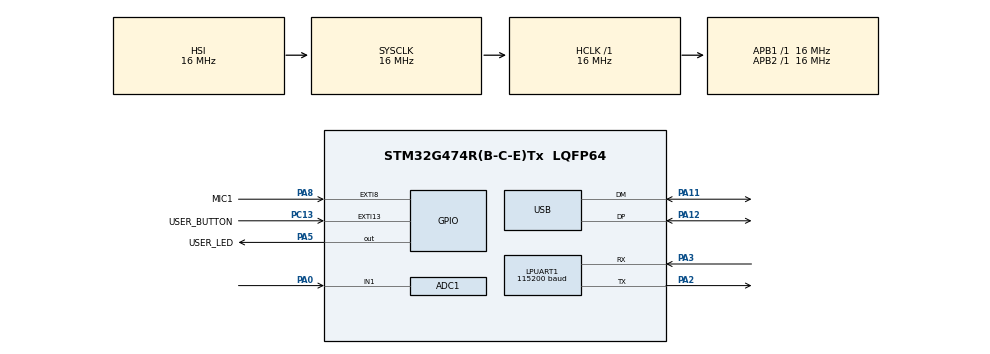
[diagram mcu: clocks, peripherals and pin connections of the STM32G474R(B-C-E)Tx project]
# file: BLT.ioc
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ADC1.Channel-0\#ChannelRegularConversion=ADC_CHANNEL_1
ADC1.ContinuousConvMode=ENABLE
ADC1.DMAContinuousRequests=ENABLE
ADC1.ExternalTrigConv=ADC_SOFTWARE_START
ADC1.NbrOfConversionFlag=1
ADC1.OffsetNumber-0\#ChannelRegularConversion=ADC_OFFSET_NONE
ADC1.Overrun=ADC_OVR_DATA_OVERWRITTEN
ADC1.Rank-0\#ChannelRegularConversion=1
ADC1.SamplingTime-0\#ChannelRegularConversion=ADC_SAMPLETIME_12CYCLES_5
ADC1.master=1
Dma.ADC1.0.Direction=DMA_PERIPH_TO_MEMORY
Dma.ADC1.0.EventEnable=DISABLE
Dma.ADC1.0.Instance=DMA1_Channel1
Dma.ADC1.0.MemDataAlignment=DMA_MDATAALIGN_HALFWORD
Dma.ADC1.0.MemInc=DMA_MINC_ENABLE
Dma.ADC1.0.Mode=DMA_CIRCULAR
Dma.ADC1.0.PeriphDataAlignment=DMA_PDATAALIGN_HALFWORD
Dma.ADC1.0.PeriphInc=DMA_PINC_DISABLE
Dma.ADC1.0.Polarity=HAL_DMAMUX_REQ_GEN_RISING
Dma.ADC1.0.Priority=DMA_PRIORITY_LOW
Dma.ADC1.0.RequestNumber=1
Dma.ADC1.0.SignalID=NONE
Dma.ADC1.0.SyncEnable=DISABLE
Dma.ADC1.0.SyncPolarity=HAL_DMAMUX_SYNC_NO_EVENT
Dma.ADC1.0.SyncRequestNumber=1
Dma.ADC1.0.SyncSignalID=NONE
Dma.Request0=ADC1
LPUART1.BaudRate=115200
Mcu.Family=STM32G4
Mcu.Name=STM32G474R(B-C-E)Tx
Mcu.Package=LQFP64
NVIC.ADC1_2_IRQn=true\:0\:0\:false\:false\:true\:true\:true\:true
NVIC.DMA1_Channel1_IRQn=true\:0\:0\:false\:false\:true\:false\:true\:true
NVIC.EXTI15_10_IRQn=true\:0\:0\:false\:false\:true\:true\:true\:true
NVIC.EXTI9_5_IRQn=true\:0\:0\:false\:false\:true\:true\:true\:true
NVIC.LPUART1_IRQn=true\:0\:0\:false\:false\:true\:true\:true\:true
NVIC.PriorityGroup=NVIC_PRIORITYGROUP_4
NVIC.USB_LP_IRQn=true\:0\:0\:false\:false\:true\:false\:true\:true
PA0.Mode=IN1-Single-Ended
PA0.Signal=ADC1_IN1
PA11.Mode=Device
PA11.Signal=USB_DM
PA12.Mode=Device
PA12.Signal=USB_DP
PA13.Mode=Serial_Wire
PA13.Signal=SYS_JTMS-SWDIO
PA14.Mode=Serial_Wire
PA14.Signal=SYS_JTCK-SWCLK
PA2.Mode=Asynchronous
PA2.Signal=LPUART1_TX
PA3.Mode=Asynchronous
PA3.Signal=LPUART1_RX
PA5.GPIO_Label=USER_LED
PA5.Signal=GPIO_Output
PA8.GPIO_Label=MIC1
PA8.GPIO_ModeDefaultEXTI=GPIO_MODE_IT_FALLING
PA8.GPIO_PuPd=GPIO_PULLUP
PA8.Signal=GPXTI8
PC13.GPIO_Label=USER_BUTTON
PC13.GPIO_ModeDefaultEXTI=GPIO_MODE_IT_RISING
PC13.GPIO_PuPd=GPIO_PULLDOWN
PC13.Signal=GPXTI13
ProjectManager.HeapSize=0x200
ProjectManager.StackSize=0x400
ProjectManager.TargetToolchain=Makefile
RCC.AHBFreq_Value=16000000
RCC.APB1Freq_Value=16000000
RCC.APB1TimFreq_Value=16000000
RCC.APB2Freq_Value=16000000
RCC.APB2TimFreq_Value=16000000
RCC.CortexFreq_Value=16000000
RCC.EXTERNAL_CLOCK_VALUE=12288000
RCC.HCLKFreq_Value=16000000
RCC.HSE_VALUE=8000000
RCC.HSI48_VALUE=48000000
RCC.HSI_VALUE=16000000
RCC.LSE_VALUE=32768
RCC.PLLN=12
RCC.PLLQ=RCC_PLLQ_DIV4
RCC.SYSCLKFreq_VALUE=16000000
RCC.USBFreq_Value=48000000
RCC.VCOOutputFreq_Value=192000000
TIM2.Prescaler=15
USB_DEVICE.CLASS_NAME_FS=HID
USB_DEVICE.VirtualMode=Hid
USB_DEVICE.VirtualModeFS=Hid_FS
VP_SYS_VS_DBSignals.Mode=DisableDeadBatterySignals
VP_TIM2_VS_ClockSourceINT.Mode=Internal
VP_USB_DEVICE_VS_USB_DEVICE_HID_FS.Mode=HID_FS
board=custom

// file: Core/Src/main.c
/* USER CODE BEGIN Header */
/**
  * @file    main.c
  * @brief   BLT (Better Latency Tester) firmware entry.
  *
  * Project: BLT – input-to-photon latency tester.
  *
  * Copyright (c) 2025 Jacen Li
  * Licensed under the MIT License (see LICENSE).
  *
  * Portions of this file are generated from STM32CubeMX templates:
  *   Copyright (c) 2025 STMicroelectronics.
  *   Licensed under the BSD-3-Clause license.
*/
/* USER CODE END Header */
#include "main.h"
#include "adc.h"
#include "dma.h"
#include "usart.h"
#include "tim.h"
#include "usb_device.h"
#include "gpio.h"

/* USER CODE BEGIN Includes */
#include "usbd_hid.h"
#include <stdio.h>
#include <stdbool.h>
#include <stdint.h>
#include <string.h>
#include <stdlib.h>
#include <inttypes.h>
#include "isr_log.h"

/* USER CODE END Includes */

/* USER CODE BEGIN PTD */
typedef enum {
  MODE1_CALIBRATION = 1,
  MODE2_TRIGGER     = 2,
  MODE3_MIC         = 3,
} blt_mode_t;

/* USER CODE END PTD */

/* USER CODE BEGIN PD */
#define FW_VERSION "BLT 0.1.1"

#define ADC_BUF_LEN 256u
#define MODE2_SPACING_US 5000000u // 5 s
#define MIC_DEBOUNCE_US 200000u  // 200 ms

#define ADC_SAMPLE_PERIOD_US 3u // 3us

/* USER CODE END PD */

/* USER CODE BEGIN PV */
extern USBD_HandleTypeDef hUsbDeviceFS;

static uint16_t          g_light_threshold = 200;
static volatile uint32_t g_tests_remaining = 0;
static uint32_t          g_trial_idx = 0;

static volatile bool     g_waiting_for_light = false;
static volatile uint32_t g_t_start_us = 0;
static uint32_t          g_last_launch_us = 0;
static volatile uint32_t g_last_mic_us = 0;

static uint8_t  rx_byte;
static char     cmd_buf[96];
static uint8_t  cmd_len = 0;

volatile uint16_t g_adc_dma_buf[ADC_BUF_LEN];

static volatile blt_mode_t g_mode = MODE1_CALIBRATION;

static volatile uint32_t g_last_idx = 0;

//unused, for debug if needed
// static volatile bool g_btn_click_req = false;

/* USER CODE END PV */

void SystemClock_Config(void);
/* USER CODE BEGIN PFP */
void send_mouse_click(void);
static inline uint16_t adc_latest_sample(void);
static void uart_start_rx_it(void);
static void send_line(const char *s);
static void handle_cmd(const char *cmd);

static inline uint32_t adc_write_idx(void);
static bool detect_cross_and_stamp(uint16_t thr, uint32_t* t1_out);
static void isr_log_dump_stats(void);

/* USER CODE END PFP */

/* USER CODE BEGIN 0 */
int _write(int file, char *ptr, int len)
{
  HAL_UART_Transmit(&hlpuart1, (uint8_t*)ptr, len, HAL_MAX_DELAY);
  return len;
}

/* USER CODE END 0 */

int main(void)
{

  /* MCU Configuration--------------------------------------------------------*/

  /* Reset of all peripherals, Initializes the Flash interface and the Systick. */
  HAL_Init();

  /* Configure the system clock */
  SystemClock_Config();

  /* Initialize all configured peripherals */
  MX_GPIO_Init();
  MX_DMA_Init();
  MX_LPUART1_UART_Init();
  MX_ADC1_Init();
  MX_TIM2_Init();
  MX_USB_Device_Init();
  /* USER CODE BEGIN 2 */

  HAL_ADCEx_Calibration_Start(&hadc1, ADC_SINGLE_ENDED);

  if (HAL_ADC_Start_DMA(&hadc1, (uint32_t*)g_adc_dma_buf, ADC_BUF_LEN) != HAL_OK)
  {
    Error_Handler();
  }

  printf("Continuous ADC-DMA running, buf=%u samples\r\n", ADC_BUF_LEN);
  printf("Initialized %s\r\n", FW_VERSION);
  HAL_TIM_Base_Start(&htim2);
  uart_start_rx_it();
  // printf("%lu\n", USBD_HID_GetPollingInterval(&hUsbDeviceFS)); // send polling rate

  /* USER CODE END 2 */

  /* Infinite loop */
  /* USER CODE BEGIN WHILE */
while (1) {
  uint32_t now_us = tim2_us();

  // MODE2: launch trials periodically, using USB as trigger
  if (g_mode == MODE2_TRIGGER && g_tests_remaining && !g_waiting_for_light) {
    if ((now_us - g_last_launch_us) >= MODE2_SPACING_US) {
      g_last_launch_us = tim2_us();
      g_last_idx = adc_write_idx();
      g_t_start_us = tim2_us();  //start time
      g_waiting_for_light = true;
      send_mouse_click();
    }
  }
  __WFI();
    /* USER CODE END WHILE */

  }
}

void SystemClock_Config(void)
{
  RCC_OscInitTypeDef RCC_OscInitStruct = {0};
  RCC_ClkInitTypeDef RCC_ClkInitStruct = {0};

  /** Configure the main internal regulator output voltage
  */
  HAL_PWREx_ControlVoltageScaling(PWR_REGULATOR_VOLTAGE_SCALE1);

  /** Initializes the RCC Oscillators according to the specified parameters
  * in the RCC_OscInitTypeDef structure.
  */
  RCC_OscInitStruct.OscillatorType = RCC_OSCILLATORTYPE_HSI;
  RCC_OscInitStruct.HSIState = RCC_HSI_ON;
  RCC_OscInitStruct.HSICalibrationValue = RCC_HSICALIBRATION_DEFAULT;
  RCC_OscInitStruct.PLL.PLLState = RCC_PLL_ON;
  RCC_OscInitStruct.PLL.PLLSource = RCC_PLLSOURCE_HSI;
  RCC_OscInitStruct.PLL.PLLM = RCC_PLLM_DIV1;
  RCC_OscInitStruct.PLL.PLLN = 12;
  RCC_OscInitStruct.PLL.PLLP = RCC_PLLP_DIV2;
  RCC_OscInitStruct.PLL.PLLQ = RCC_PLLQ_DIV4;
  RCC_OscInitStruct.PLL.PLLR = RCC_PLLR_DIV2;
  if (HAL_RCC_OscConfig(&RCC_OscInitStruct) != HAL_OK)
  {
    Error_Handler();
  }

  /** Initializes the CPU, AHB and APB buses clocks
  */
  RCC_ClkInitStruct.ClockType = RCC_CLOCKTYPE_HCLK|RCC_CLOCKTYPE_SYSCLK
                              |RCC_CLOCKTYPE_PCLK1|RCC_CLOCKTYPE_PCLK2;
  RCC_ClkInitStruct.SYSCLKSource = RCC_SYSCLKSOURCE_HSI;
  RCC_ClkInitStruct.AHBCLKDivider = RCC_SYSCLK_DIV1;
  RCC_ClkInitStruct.APB1CLKDivider = RCC_HCLK_DIV1;
  RCC_ClkInitStruct.APB2CLKDivider = RCC_HCLK_DIV1;

  if (HAL_RCC_ClockConfig(&RCC_ClkInitStruct, FLASH_LATENCY_0) != HAL_OK)
  {
    Error_Handler();
  }
}

/* USER CODE BEGIN 4 */
static inline uint16_t adc_latest_sample(void)
{
    uint32_t dma_remaining = __HAL_DMA_GET_COUNTER(&hdma_adc1);
    uint32_t idx           = (ADC_BUF_LEN - dma_remaining) & (ADC_BUF_LEN-1);
    return g_adc_dma_buf[idx];
}

static inline uint32_t adc_write_idx(void){
    // NDTR = how many transfers LEFT; write index = prod
    uint32_t ndtr = __HAL_DMA_GET_COUNTER(&hdma_adc1);
    return (ADC_BUF_LEN - ndtr) & (ADC_BUF_LEN - 1);
}

static bool detect_cross_and_stamp(uint16_t thr, uint32_t* t1_out){
    uint32_t write = adc_write_idx();
    uint32_t idx   = g_last_idx;

    while (idx != write) {
        uint16_t s = g_adc_dma_buf[idx];
        if (s >= thr) {
            uint32_t now = tim2_us(); // tim2 ticks
            // How far behind "now" that sample is, in samples (mod ring)
            uint32_t samples_behind = (write - idx) & (ADC_BUF_LEN - 1);
            // sample time = 3 us
            uint32_t ticks_behind = samples_behind * ADC_SAMPLE_PERIOD_US;
            *t1_out = now - ticks_behind;
            g_last_idx = write; // consume everything up to 'write'
            return true;
        }
        idx = (idx + 1) & (ADC_BUF_LEN - 1);
    }
    g_last_idx = write;
    return false;
}

void HAL_GPIO_EXTI_Callback(uint16_t GPIO_Pin) {
  if (GPIO_Pin == MIC1_Pin && g_mode == MODE3_MIC) {
    uint32_t now = tim2_us();
    if ((uint32_t)(now - g_last_mic_us) > MIC_DEBOUNCE_US) {
      g_last_mic_us = now;
      if (g_tests_remaining && !g_waiting_for_light) {
        g_waiting_for_light = true;
        g_t_start_us = now; // mic click time
      }
    }
  } // else if (GPIO_Pin == USER_BUTTON_Pin) {
    // g_btn_click_req = true; //unused, for debug if needed
  // }
}

void send_mouse_click(void)
{
  uint8_t hid_report[4] = {0};

  hid_report[0] = 0x01;
  USBD_HID_SendReport(&hUsbDeviceFS, hid_report, sizeof(hid_report));
  HAL_Delay(1);

  hid_report[0] = 0x00;
  USBD_HID_SendReport(&hUsbDeviceFS, hid_report, sizeof(hid_report));
}

static void uart_start_rx_it(void) {
  HAL_UART_Receive_IT(&hlpuart1, &rx_byte, 1);
}

static inline void send_line(const char *s) {
  HAL_UART_Transmit(&hlpuart1, (uint8_t*)s, (uint16_t)strlen(s), HAL_MAX_DELAY);
}

void HAL_UART_RxCpltCallback(UART_HandleTypeDef *huart) {
  if (huart == &hlpuart1) {
    uint8_t c = rx_byte;

    if (c == '\n' || c == '\r') {
      if (cmd_len) {
        cmd_buf[cmd_len] = '\0';
        handle_cmd(cmd_buf);
        cmd_len = 0;
      }
    } else if (cmd_len < sizeof(cmd_buf)-1) {
      cmd_buf[cmd_len++] = (char)c;
    } else {
      cmd_len = 0;
    }
    HAL_UART_Receive_IT(&hlpuart1, &rx_byte, 1);
  }
}

static void handle_cmd(const char *cmd) {
  if (strcmp(cmd, "HELP") == 0) {
    send_line("CMDS: HELLO, HELP, VERSION, STATUS, "
              "MODE1, MODE2, MODE3, CAL READ, CAL AUTO, CAL SET <thr>, TEST START <n>\r\n");

  } else if (strcmp(cmd, "HELLO") == 0) {
    send_line("ACK HELLO\r\n");

  } else if (strcmp(cmd, "VERSION") == 0) {
    char b[48]; snprintf(b, sizeof b, "VERSION %s\r\n", FW_VERSION); send_line(b);

  } else if (strcmp(cmd, "STATUS") == 0) {
    char b[96];
    snprintf(b, sizeof b, "STATUS mode=%u light=%u thr=%u waiting=%u left=%lu\r\n",
             (unsigned)g_mode, (unsigned)adc_latest_sample(), (unsigned)g_light_threshold,
             (unsigned)g_waiting_for_light, (unsigned long)g_tests_remaining);
    send_line(b);

  // Modes
  } else if (strcmp(cmd, "MODE1") == 0) {
    g_mode = MODE1_CALIBRATION;  send_line("ACK MODE1\r\n");

  } else if (strcmp(cmd, "MODE2") == 0) {
    g_mode = MODE2_TRIGGER;      send_line("ACK MODE2\r\n");

  } else if (strcmp(cmd, "MODE3") == 0) {
    g_mode = MODE3_MIC;          send_line("ACK MODE3\r\n");

  // Calibration
  } else if (strcmp(cmd, "CAL READ") == 0) {
    char b[64];
    snprintf(b, sizeof b, "CAL,light=%u,thr=%u\r\n", (unsigned)adc_latest_sample(), (unsigned)g_light_threshold);
    send_line(b);

  } else if (strcmp(cmd, "CAL AUTO") == 0) {
    uint32_t thr = (adc_latest_sample() * 125u) / 100u;  // +25%
    if (thr > 4095u) thr = 4095u;
    g_light_threshold = (uint16_t)thr;
    char b[48];
    snprintf(b, sizeof b, "ACK CAL SET %u\r\n", (unsigned)g_light_threshold);
    send_line(b);

  } else if (strncmp(cmd, "CAL SET ", 8) == 0) {
    uint32_t v = strtoul(cmd+8, NULL, 10);
    if (v > 4095u) v = 4095u;
    g_light_threshold = (uint16_t)v;
    char b[48];
    snprintf(b, sizeof b, "ACK CAL SET %u\r\n", (unsigned)g_light_threshold);
    send_line(b);

  // Test arming
  } else if (strncmp(cmd, "TEST START ", 11) == 0) {
    uint32_t n = strtoul(cmd+11, NULL, 10);
    g_trial_idx = 0;
    g_tests_remaining = n;
    g_waiting_for_light = false;
    send_line("DATA,trial,latency_us,light\r\n");  // CSV header
    char b[64];
    snprintf(b, sizeof b, "ACK TEST START %lu\r\n", (unsigned long)n);
    send_line(b);

    // MODE2: optionally launch first trial immediately
    if (g_mode == MODE2_TRIGGER && g_tests_remaining) {
      g_last_launch_us = tim2_us() - MODE2_SPACING_US; // so it fires right away
    }

  //return jitter
  } else if (strcmp(cmd, "JIT") == 0) {
    isr_log_dump_stats();
    isr_log_reset();
  } else {
    send_line("ERR UNKNOWN\r\n");
  }
}

void HAL_UART_ErrorCallback(UART_HandleTypeDef *huart) {
  if (huart == &hlpuart1) {
    __HAL_UART_CLEAR_OREFLAG(huart);
    HAL_UART_Receive_IT(&hlpuart1, &rx_byte, 1);
  }
}

void HAL_ADC_ConvHalfCpltCallback(ADC_HandleTypeDef* hadc)
{
    (void)hadc;
    if (g_waiting_for_light) {
        uint32_t t1;
        if (detect_cross_and_stamp(g_light_threshold, &t1)) {
            uint32_t dt_us = (uint32_t)(t1 - g_t_start_us);
            ++g_trial_idx;
            char out[96];
            int n = snprintf(out, sizeof out, "DATA,%lu,%lu,%u\r\n",
                             (unsigned long)g_trial_idx,
                             (unsigned long)dt_us,
                             (unsigned)adc_latest_sample());
            HAL_UART_Transmit(&hlpuart1, (uint8_t*)out, (uint16_t)n, HAL_MAX_DELAY);

            g_waiting_for_light = false;
            if (--g_tests_remaining == 0) {
                send_line("DONE\r\n");
            }
        }
    }
}

void HAL_ADC_ConvCpltCallback(ADC_HandleTypeDef* hadc)
{
    // Same handling at full-complete boundary
    HAL_ADC_ConvHalfCpltCallback(hadc);
}

void isr_log_dump_stats(void) {
    uint16_t n = isr_log_count();
    if (n < 2) { printf("not enough samples\n"); return; }

    uint32_t prev = isr_log_get(0);
    uint64_t sum  = 0;
    uint32_t min_d = 0xFFFFFFFFu, max_d = 0;

    for (uint16_t i = 1; i < n; i++) {
        uint32_t curr  = isr_log_get(i);
        uint32_t delta = (curr - prev);   // unsigned handles 32-bit wrap
        prev = curr;

        if (delta < min_d) min_d = delta;
        if (delta > max_d) max_d = delta;
        sum += delta;
    }

    uint32_t count_periods = n - 1;
    uint32_t avg = (uint32_t)(sum / count_periods);
    uint32_t pkpk = max_d - min_d;

    printf("ISR period stats: count=%" PRIu16 " , avg=%" PRIu32 " us, min=%" PRIu32 " us, max=%" PRIu32 " us, jitter=±%" PRIu32 " us\n",
           n, avg, min_d, max_d, pkpk/2);
}

/* USER CODE END 4 */

void Error_Handler(void)
{
  __disable_irq();
  while (1)
  {
  }
}
